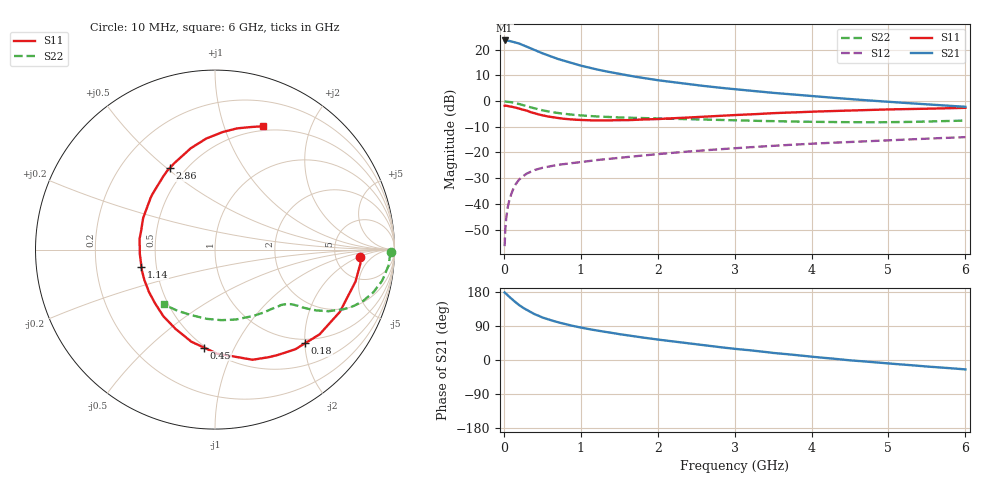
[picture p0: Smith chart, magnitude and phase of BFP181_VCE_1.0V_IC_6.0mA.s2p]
! Infineon Technologies  Discrete & RF Semiconductors
! BFP181
! VCE = 1.0 V,  IC =  6.0 mA
! Common Emitter S-Parameters:  Jan 2016
# GHz  S  MA  R  50
!  f  S11  S21  S12  S22
! GHz  MAG  ANG  MAG  ANG  MAG  ANG  MAG  ANG
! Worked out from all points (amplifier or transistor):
!   210 points, 10 MHz to 6 GHz, reference 50 ohm
!   highest |S21| = 23.6 dB at 10 MHz (marker M1)
!   |S21| within 3 dB of that: start of sweep to 343.8 MHz
!   unconditionally stable (mu >= 1): 1.155 GHz to end of sweep
!   at 185 MHz: K = 0.23, MSG = 26.8 dB, |S12| = -31.1 dB
!   at 1.52 GHz: K = 1.14, MAG = 14.0 dB, |S12| = -22.0 dB
!   at 6 GHz: K = 1.13, MAG = 3.7 dB, |S12| = -14.1 dB
!   S11 on the Smith chart (normalised r, x): 10 MHz: 8.92, -2.10; 180 MHz: 0.91, -2.01; 450 MHz: 0.49, -0.77; 1.14 GHz: 0.41, -0.10; 2.86 GHz: 0.41, +0.51; 6 GHz: 0.45, +1.36
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0.01  0.808 -2.9  15.08 178.2  0.0015 88.9  0.9786 -0.9
0.02  0.8141 -5.4  15.07 176.6  0.0034 84.2  0.9755 -2.1
0.05  0.8029 -12.8  15.01 170.5  0.0085 85.1  0.9701 -5.4
0.1  0.7774 -26.5  14.43 161.4  0.016 76.0  0.9471 -10.6
0.15  0.75 -39.0  13.81 152.7  0.0236 70.1  0.9128 -15.2
0.18  0.724 -46.1  13.36 148.1  0.0272 66.8  0.8888 -17.5
0.24  0.6838 -59.1  12.36 139.2  0.0334 61.2  0.8383 -21.8
0.3  0.6488 -71.1  11.4 132.1  0.0389 56.7  0.7894 -24.9
0.4  0.5797 -88.9  9.854 120.9  0.0454 50.8  0.7181 -28.6
0.45  0.5497 -96.3  9.153 116.9  0.0477 48.6  0.689 -29.7
0.5  0.5298 -104.4  8.503 112.3  0.0501 46.6  0.6602 -30.9
0.56  0.5051 -111.5  7.894 108.4  0.0522 45.1  0.6339 -31.8
0.7  0.4698 -127.7  6.605 99.7  0.0573 42.6  0.5847 -33.4
1.02  0.427 -158.1  4.807 84.9  0.0654 40.3  0.5218 -35.7
1.14  0.4208 -166.8  4.36 80.3  0.069 40.2  0.5081 -36.8
1.5  0.4244 171.9  3.376 68.3  0.0787 40.0  0.4795 -40.1
2.02  0.4473 147.1  2.519 53.5  0.093 38.7  0.4563 -46.7
2.86  0.5197 119.1  1.782 32.6  0.1168 35.2  0.4253 -60.6
3.1  0.5406 112.5  1.645 27.6  0.1233 33.9  0.4158 -65.1
4.1  0.6271 92.7  1.217 6.8  0.1503 27.6  0.3921 -87.1
5.1  0.6904 78.6  0.943 -10.7  0.1745 21.1  0.3886 -111.5
6  0.7366 68.9  0.772 -24.8  0.1983 14.4  0.4181 -133.1
